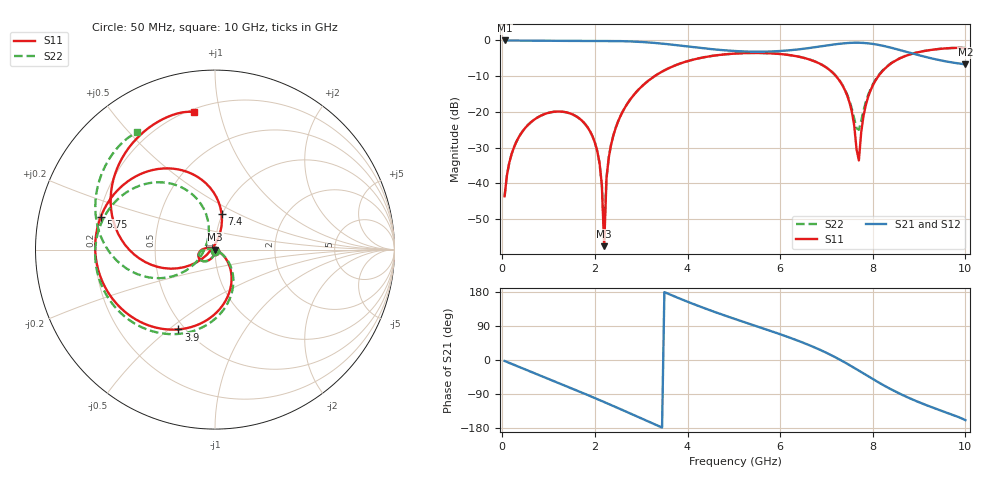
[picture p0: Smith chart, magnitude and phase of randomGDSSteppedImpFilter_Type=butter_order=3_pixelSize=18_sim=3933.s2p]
! freq	dB(S11)	phase(S11)	dB(S12)	phase(S12)
!  dB(S21)	phase(S21)	dB(S22)	phase(S22)
!S-par simulation data
#  GHz  S  DB  R 50
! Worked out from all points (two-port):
!   200 points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, 50 MHz to 10 GHz, reference 50 ohm
!   highest |S21| = 0.00 dB at 50 MHz (marker M1); lowest = -6.7 dB at 10 GHz (marker M2)
!   |S21| within 3 dB of the highest: start of sweep to 5.081 GHz; 5.947 GHz to 8.674 GHz (2.727 GHz wide, 37.3 % of centre)
!   lowest |S11| = -57.6 dB at 2.2 GHz (marker M3), VSWR 1.00, Z = 50.1 + j0.0488 ohm
!   |S11| at or under -10 dB: start of sweep to 3.29 GHz; 7.205 GHz to 8.122 GHz (916.5 MHz wide, 12 % of centre)
!   |S22| runs from -54.5 to -2.1 dB; largest |S21 - S12| = 0
!   S11 on the Smith chart (normalised r, x): 50 MHz: 1.00, -0.01; 3.9 GHz: 0.46, -0.54; 5.75 GHz: 0.21, +0.14; 7.4 GHz: 0.99, +0.41; 10 GHz: 0.22, +0.83
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0.05  -43.65 -90.9  -0.00 -2.6  -0.00 -2.6  -43.65 -90.8
0.25  -29.99 -102.7  -0.02 -12.6  -0.02 -12.6  -29.99 -102.3
0.6  -23.11 -121.1  -0.06 -30.1  -0.06 -30.1  -23.11 -120.2
1.75  -22.85 179.8  -0.12 -87.6  -0.12 -87.6  -22.87 -176.5
2.1  -34.34 159.6  -0.12 -105.7  -0.12 -105.7  -34.40 169.1
2.15  -40.49 154.4  -0.13 -108.3  -0.13 -108.3  -40.59 171.2
2.2  -57.62 21.7  -0.13 -110.9  -0.13 -110.9  -54.45 -74.8
2.25  -38.62 -21.7  -0.13 -113.5  -0.13 -113.5  -38.41 -30.2
2.45  -24.44 -35.9  -0.17 -124.2  -0.17 -124.2  -24.40 -34.9
3.4  -9.10 -88.6  -0.83 -175.6  -0.83 -175.6  -9.09 -84.1
3.9  -6.21 -114.7  -1.52 158.7  -1.52 158.7  -6.20 -109.0
5.05  -3.66 -167.0  -2.98 107.1  -2.98 107.1  -3.65 -158.4
5.75  -3.58 163.8  -3.12 78.5  -3.12 78.5  -3.57 174.6
6.7  -5.63 120.0  -1.99 35.5  -1.99 35.5  -5.62 135.1
7.4  -13.95 79.4  -0.78 -6.6  -0.78 -6.6  -13.78 104.1
7.55  -20.08 73.0  -0.66 -17.2  -0.66 -17.2  -19.23 108.2
7.7  -33.60 175.2  -0.64 -28.1  -0.64 -28.1  -25.01 173.1
7.8  -21.11 -144.6  -0.70 -35.5  -0.70 -35.5  -19.64 -149.7
7.9  -15.82 -147.6  -0.81 -42.9  -0.81 -42.9  -15.28 -144.0
8.35  -6.89 -176.7  -1.89 -74.4  -1.89 -74.4  -6.80 -162.8
9.05  -3.11 142.8  -4.32 -114.0  -4.32 -114.0  -3.09 161.9
10  -2.20 98.8  -6.71 -158.8  -6.71 -158.8  -2.13 123.5
